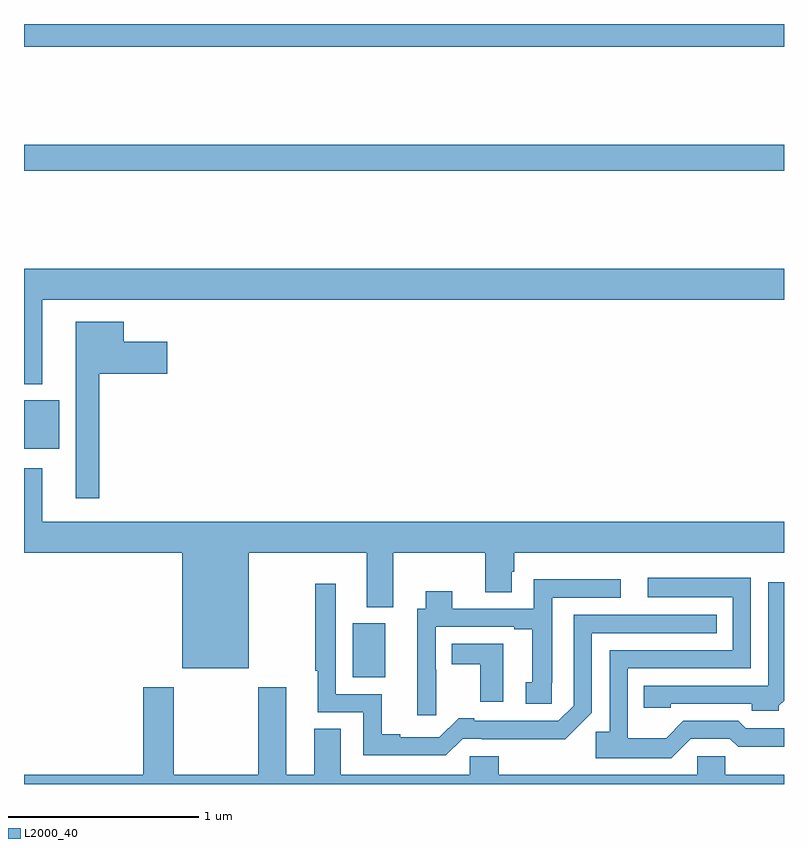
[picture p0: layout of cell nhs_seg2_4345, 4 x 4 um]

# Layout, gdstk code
import gdstk
lib = gdstk.Library(unit=1e-6, precision=1e-09)
def R(c, l, rs):  # rectangles x0, y0, x1, y1
    for r in rs: c.add(gdstk.rectangle(r[:2], r[2:], *l))
def P(c, l, *ps):  # polygons
    for p in ps: c.add(gdstk.Polygon(p, *l))
L2000_40 = (2000, 40)

nhs_seg2_4345 = lib.new_cell('nhs_seg2_4345')
R(nhs_seg2_4345, L2000_40, [(348.731,600.362,348.901,600.646), (347,601.565,347.185,601.819), (347,603.028,351,603.164), (347,603.68,351,603.8)])
P(nhs_seg2_4345, L2000_40, [(347.095,602.348),(351,602.348),(351,602.512),(347,602.512),(347,601.904),(347.095,601.904)],
  [(347.395,601.958),(347.755,601.958),(347.755,602.128),(347.524,602.128),(347.524,602.233),(347.273,602.233),(347.273,601.305),(347.395,601.305)],
  [(348.184,601.016),(348.803,601.016),(348.803,600.731),(348.943,600.731),(348.943,601.016),(349.427,601.016),(349.427,600.808),(349.567,600.808),(349.567,600.918),(349.58,600.918),(349.58,601.016),(351,601.016),(351,601.18),(347.095,601.18),(347.095,601.462),(347,601.462),(347,601.016),(347.834,601.016),(347.834,600.41),(348.184,600.41)],
  [(350.509,600.039),(350.715,600.039),(350.758,599.997),(351,599.997),(351,600.093),(350.799,600.093),(350.76,600.132),(350.469,600.132),(350.379,600.042),(350.178,600.042),(350.178,600.408),(350.826,600.408),(350.826,600.886),(350.283,600.886),(350.283,600.782),(350.73,600.782),(350.73,600.504),(350.082,600.504),(350.082,600.074),(350.009,600.074),(350.009,599.936),(350.406,599.936)],
  [(349.17,600.402),(349.167,600.402),(349.167,600.627),(349.58,600.627),(349.58,600.615),(349.676,600.615),(349.676,600.335),(349.64,600.335),(349.64,600.222),(349.778,600.222),(349.778,600.334),(349.78,600.334),(349.78,600.78),(350.14,600.78),(350.14,600.877),(349.683,600.877),(349.683,600.723),(349.255,600.723),(349.255,600.814),(349.115,600.814),(349.115,600.723),(349.07,600.723),(349.07,600.162),(349.17,600.162)],
  [(350.973,600.212),(351,600.238),(351,600.862),(350.916,600.862),(350.916,600.318),(350.263,600.318),(350.263,600.201),(350.403,600.201),(350.403,600.222),(350.831,600.222),(350.831,600.186),(350.973,600.186)],
  [(349.308,600.039),(349.408,600.039),(349.408,600.035),(349.848,600.035),(349.989,600.176),(349.989,600.594),(350.645,600.594),(350.645,600.69),(349.893,600.69),(349.893,600.213),(349.812,600.132),(349.369,600.132),(349.369,600.147),(349.287,600.147),(349.186,600.046),(348.979,600.046),(348.979,600.061),(348.884,600.061),(348.884,600.273),(348.642,600.273),(348.642,600.853),(348.534,600.853),(348.534,600.397),(348.545,600.397),(348.545,600.177),(348.786,600.177),(348.786,599.952),(349.221,599.952)],
  [(349.522,600.537),(349.252,600.537),(349.252,600.429),(349.4,600.429),(349.4,600.234),(349.522,600.234)],
  [(351,599.848),(350.69,599.848),(350.69,599.946),(350.544,599.946),(350.544,599.848),(349.499,599.848),(349.499,599.946),(349.347,599.946),(349.347,599.848),(348.667,599.848),(348.667,600.092),(348.527,600.092),(348.527,599.848),(348.379,599.848),(348.379,600.31),(348.232,600.31),(348.232,599.848),(347.787,599.848),(347.787,600.31),(347.627,600.31),(347.627,599.848),(347,599.848),(347,599.8),(351,599.8)])

lib.write_gds('nhs_seg2_4345.gds')
